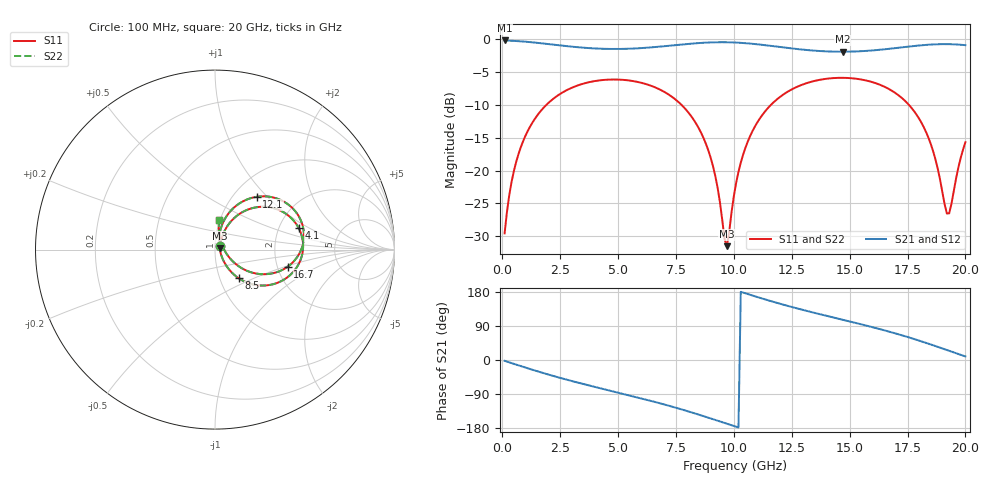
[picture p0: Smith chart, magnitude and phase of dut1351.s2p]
! Touchstone file exported from HFSS 2026.1.0
!  File:  C:/ffzhzh/LocalFiles/Ansys_Project_Files/temp_train_TSV_RDL_1351_1783340930_39728.aedt
!  Generated:  08:42:52 PM Jul  6, 2026
!  Design:  TSV_RDL
!  Project:  temp_train_TSV_RDL_1351_1783340930_39728
! Variables:
!  h_bsmrdl = 4.49um
!  h_ox = 20um
!  h_rdl = 5um
!  h_sub = 71.83um
!  h_tmrdl = 4.63um
!  h_tsv = 71.83um
!  h_via = 3um
!  l_bsmrdl = 545.3um
!  l_sub = 5732.25um
!  l_tmrdl = 892.73um
!  m_sub = 200um
!  pitch = 43.09um
!  r_tsv = 10.78um
!  s_tmrdl = 10um
!  w_bsmrdl = 29.09um
!  w_sub = 500um
!  w_tmrdl = 12.72um
!  x_tsv_center1 = 899.09um
!  x_tsv_center2 = 1473.48um
!  x_tsv_center3 = 2378.93um
!  x_tsv_center4 = 2953.32um
!  x_tsv_center5 = 3858.77um
!  x_tsv_center6 = 4433.16um
# GHz S MA R 50.000000
! Terminal data exported
! Port[1] = TM_RDL1_1_T1
! Port[2] = TM_RDL5_1_T1
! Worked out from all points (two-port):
!   200 points, 100 MHz to 20 GHz, reference 50 ohm
!   highest |S21| = -0.24 dB at 100 MHz (marker M1); lowest = -1.9 dB at 14.7 GHz (marker M2)
!   |S21| within 3 dB of the highest: start of sweep to end of sweep
!   lowest |S11| = -31.5 dB at 9.7 GHz (marker M3), VSWR 1.05, Z = 52.6 + j0.834 ohm
!   |S11| at or under -10 dB: start of sweep to 1.91 GHz; 7.732 GHz to 11.61 GHz (3.876 GHz wide, 40.1 % of centre); 17.55 GHz to end of sweep
!   |S22| runs from -31.5 to -5.9 dB; largest |S21 - S12| = 2.3e-14
!   S11 on the Smith chart (normalised r, x): 100 MHz: 1.06, +0.04; 4.1 GHz: 2.57, +0.80; 8.5 GHz: 1.23, -0.41; 12.1 GHz: 1.27, +0.87; 16.7 GHz: 2.28, -0.52; 20 GHz: 0.99, +0.33
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0.1  0.03335 35.1  0.9732 -2.1  0.9732 -2.1  0.03335 35.1
! Gamma 0 0 0 0
! Port Impedance 50 0 50 0
0.5  0.09914 62.4  0.966 -10.2  0.966 -10.2  0.09914 62.4
1.1  0.1998 59.1  0.9491 -21.9  0.9491 -21.9  0.1998 59.1
2.1  0.3393 44.4  0.909 -40.3  0.909 -40.3  0.3393 44.4
3.5  0.4573 23.1  0.8575 -63.4  0.8575 -63.4  0.4573 23.1
4.1  0.4815 14.4  0.8446 -72.5  0.8446 -72.5  0.4815 14.4
5.4  0.4851 -4.1  0.8415 -92.0  0.8415 -92.0  0.4851 -4.1
6.8  0.413 -24.7  0.8735 -114.0  0.8735 -114.0  0.413 -24.7
8.5  0.2072 -50.4  0.9304 -144.4  0.9304 -144.4  0.2072 -50.4
9.1  0.1079 -54.9  0.9418 -156.2  0.9418 -156.2  0.1078 -54.9
9.7  0.02664 17.3  0.9432 -168.1  0.9432 -168.1  0.02657 17.3
10.1  0.08074 72.6  0.9379 -176.1  0.9379 -176.1  0.08072 72.6
10.9  0.2144 69.5  0.9145 168.3  0.9145 168.3  0.2144 69.6
12.1  0.3743 51.8  0.8632 146.6  0.8632 146.6  0.3743 51.8
13.4  0.4754 32.7  0.8162 125.7  0.8162 125.7  0.4754 32.7
14.7  0.5063 14.8  0.7991 106.2  0.7991 106.2  0.5063 14.8
16.7  0.4161 -13.2  0.8406 75.0  0.8406 75.0  0.4161 -13.2
18.3  0.1963 -34.3  0.9006 45.2  0.9006 45.2  0.1963 -34.4
18.7  0.1228 -33.8  0.9094 37.0  0.9094 37.0  0.1228 -33.8
19.2  0.04718 11.4  0.9125 26.4  0.9125 26.4  0.04709 11.4
19.3  0.04728 35.3  0.9119 24.3  0.9119 24.3  0.0472 35.3
20  0.164 81.6  0.8964 9.4  0.8964 9.4  0.164 81.7
